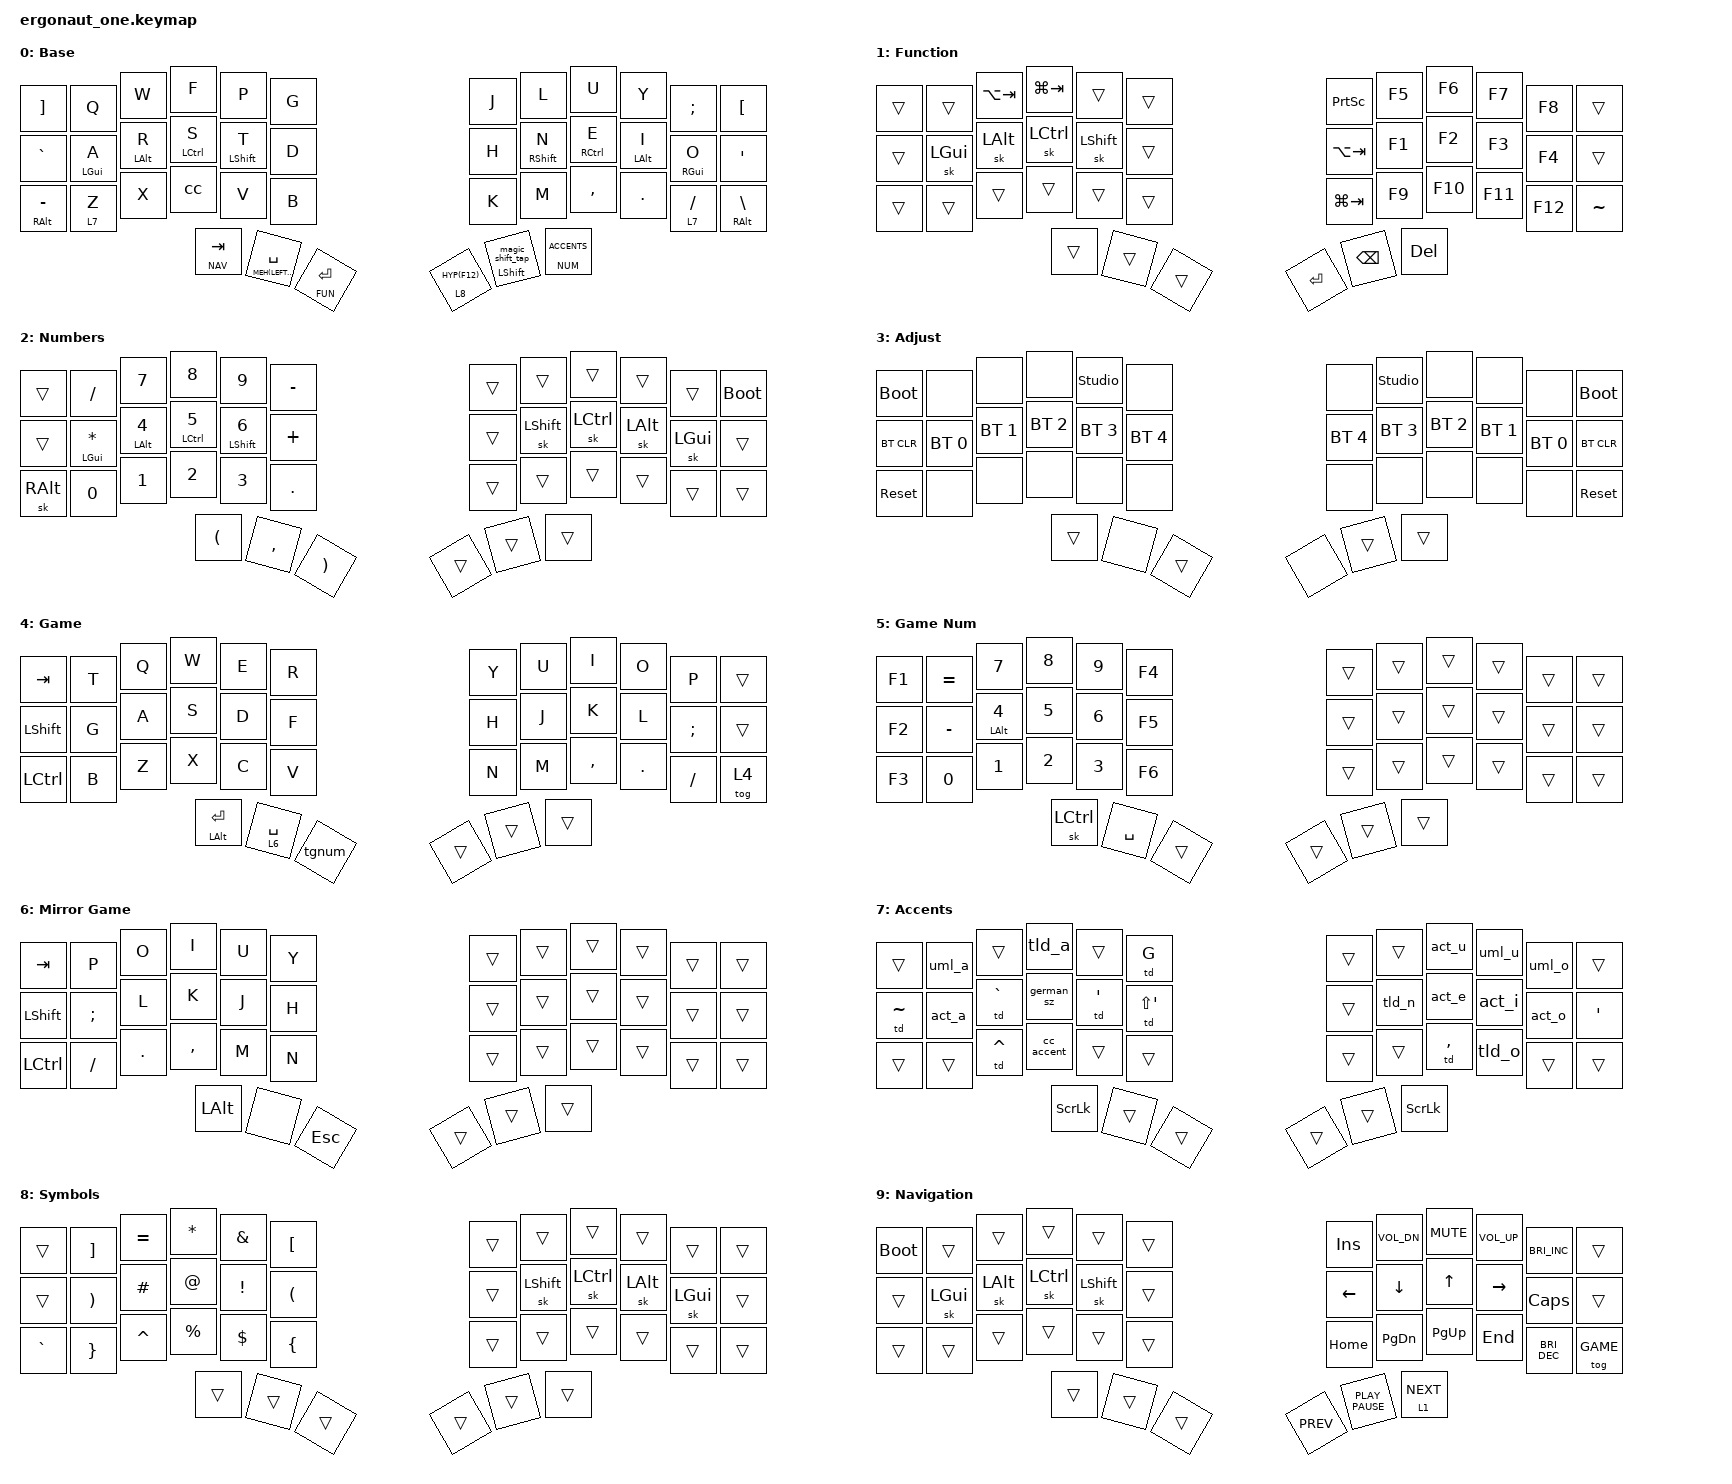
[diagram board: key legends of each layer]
#include <behaviors.dtsi>
#include <dt-bindings/zmk/bt.h>
#include <dt-bindings/zmk/keys.h>
#include <dt-bindings/zmk/pointing.h>
#include <zmk-helpers/helper.h>

#define DEF 0
#define FUN 1
#define NUM 2
#define ADJ 3
#define GAME 4
#define GAME_NUM 5
#define MIRROR_GAME 6
#define ACCENTS 7
#define SYM 8
#define NAV 9

#define QUICK_TAP_MS 175

// Macro timing (ZMK defaults: wait 15, tap 30). Lower is faster, but too low
// can make the OS drop the compose sequence.
#define MACRO_WAIT_MS 5
#define MACRO_TAP_MS 5

// Ergonaut One key positions, used by the timeless homerow mods
#define KEYS_L 0 1 2 3 4 5 12 13 14 15 16 17 24 25 26 27 28 29  // left hand
#define KEYS_R 6 7 8 9 10 11 18 19 20 21 22 23 30 31 32 33 34 35  // right hand
#define THUMBS 36 37 38 39 40 41                                  // thumb keys

#define MAGIC_SHIFT &magic_shift LSHFT 0
#define MEH(keycode) LC(LS(LA(keycode)))
#define HYP(keycode) LC(LS(LA(LG(keycode))))


&lt {
    tapping-term-ms = <200>;
    quick-tap-ms = <130>;
    require-prior-idle-ms = <150>;
    flavor = "balanced";
    retro-tap;
};

&mt {
    tapping-term-ms = <180>;
    quick-tap-ms = <130>;
    require-prior-idle-ms = <120>;
    flavor = "balanced";
};

&sk { quick-release; };

/ {
    conditional_layers {
        compatible = "zmk,conditional-layers";

        tri-layer {
            if-layers = <1 2>;
            then-layer = <3>;
        };
    };

    combos {
      compatible = "zmk,combos";

      bksp {
	timeout-ms = <30>;
	require-prior-idle-ms = <80>;
	bindings = <&kp2 LC(BSPC) BSPC>;
	key-positions = <7 8>;
      };

      del {
	timeout-ms = <30>;
	require-prior-idle-ms = <80>;
	bindings = <&kp2 LC(DELETE) DELETE>;
	key-positions = <8 9>;
      };

      escape {
	timeout-ms = <18>;
	require-prior-idle-ms = <80>;
	bindings = <&kp ESC>;
	key-positions = <19 20>;
      };

      leader {
	timeout-ms = <18>;
	require-prior-idle-ms = <80>;
	bindings = <&kp HYP(F12)>;
	key-positions = <20 21>;
      };

      cut {
	bindings = <&kp LC(X)>;
	key-positions = <25 26>;
      };

      copy {
	bindings = <&kp LC(C)>;
	key-positions = <26 27>;
      };

      paste {
	bindings = <&kp LC(V)>;
	key-positions = <27 28>;
      };

      ctrl_shift_t {
	bindings = <&kp LC(LS(T))>;
	key-positions = <3 4>;
      };

      plus_minus_combo {
	timeout-ms = <30>;
	key-positions = <12 24>;
	bindings = <&plus_minus>;
      };

      sqt_combo {
	timeout-ms = <30>;
	key-positions = <7 19>;
	bindings = <&kp SQT>;
      };

      dqt_combo {
	timeout-ms = <30>;
	key-positions = <8 20>;
	bindings = <&kp DQT>;
      };

    };

    macros {

    	plus_minus: plus_minus {
            compatible = "zmk,behavior-macro";
            wait-ms = <MACRO_WAIT_MS>;
            tap-ms = <MACRO_TAP_MS>;
            #binding-cells = <0>;
            bindings = <&kp SCROLLLOCK &kp PLUS &kp MINUS>;
            label = "PLUS_MINUS";
	};

        act: act {
            compatible = "zmk,behavior-macro-one-param";
            wait-ms = <MACRO_WAIT_MS>;
            tap-ms = <MACRO_TAP_MS>;
            #binding-cells = <1>;
            bindings = <&ans &macro_param_1to1 &kp MACRO_PLACEHOLDER>;
            label = "act";
        };

        grv: grv {
            compatible = "zmk,behavior-macro-one-param";
            wait-ms = <MACRO_WAIT_MS>;
            tap-ms = <MACRO_TAP_MS>;
            #binding-cells = <1>;
            bindings = <&gns &macro_param_1to1 &kp MACRO_PLACEHOLDER>;
            label = "grv";
        };

        tld: tld {
            compatible = "zmk,behavior-macro-one-param";
            wait-ms = <MACRO_WAIT_MS>;
            tap-ms = <MACRO_TAP_MS>;
            #binding-cells = <1>;
            bindings = <&kp TILDE &macro_param_1to1 &kp MACRO_PLACEHOLDER>;
            label = "tld";
        };

        umt: umt {
            compatible = "zmk,behavior-macro-one-param";
            wait-ms = <MACRO_WAIT_MS>;
            tap-ms = <MACRO_TAP_MS>;
            #binding-cells = <1>;
            bindings = <&kp DQT &macro_param_1to1 &kp MACRO_PLACEHOLDER>;
            label = "umt";
        };

        german_sz: german_sz {
            compatible = "zmk,behavior-macro";
            wait-ms = <MACRO_WAIT_MS>;
            tap-ms = <MACRO_TAP_MS>;
            #binding-cells = <0>;
            bindings = <&kp SCROLLLOCK &kp S &kp S>;
            label = "GERMAN_SZ";
        };

	td: turn_dead {
	    compatible = "zmk,behavior-macro-one-param";
	    wait-ms = <MACRO_WAIT_MS>;
	    tap-ms = <MACRO_TAP_MS>;
	    #binding-cells = <1>;
	    bindings = <&kp SCROLLLOCK &macro_param_1to1 &kp MACRO_PLACEHOLDER>;
	    };

	td2: turn_dead_two {
	    compatible = "zmk,behavior-macro-two-param";
	    wait-ms = <MACRO_WAIT_MS>;
	    tap-ms = <MACRO_TAP_MS>;
	    #binding-cells = <2>;
	    bindings = <&kp SCROLLLOCK>,
		<&macro_param_1to1>, <&kp MACRO_PLACEHOLDER>,
		<&macro_param_2to1>, <&kp MACRO_PLACEHOLDER>;
	    };

	cedilla_lower: cedilla_lower {
	    compatible = "zmk,behavior-macro-one-param";
	    wait-ms = <MACRO_WAIT_MS>;
	    tap-ms = <MACRO_TAP_MS>;
	    #binding-cells = <1>;
	    bindings = <&kp SCROLLLOCK &kp COMMA &kp C>;
	    };


	cedilla_upper: cedilla_upper {
	    compatible = "zmk,behavior-macro-one-param";
	    wait-ms = <MACRO_WAIT_MS>;
	    tap-ms = <MACRO_TAP_MS>;
	    #binding-cells = <1>;
	    bindings = <&kp SCROLLLOCK &kp COMMA &kp LS(C)>;
	    };


    };

    behaviors {
    // Timeless homerow mods (urob): the hold is decided by positional
    // "chordal" rules, not by a short timeout. Holds only trigger with the
    // opposite hand (or thumbs), and on release of the other key.
    hml: homerow_mods_left {
	compatible = "zmk,behavior-hold-tap";
	#binding-cells = <2>;
	flavor = "balanced";
	tapping-term-ms = <280>;
	quick-tap-ms = <QUICK_TAP_MS>;
	require-prior-idle-ms = <150>;
	bindings = <&kp>, <&kp>;
	hold-trigger-key-positions = <KEYS_R THUMBS>;
	hold-trigger-on-release;
    };

    hmr: homerow_mods_right {
	compatible = "zmk,behavior-hold-tap";
	#binding-cells = <2>;
	flavor = "balanced";
	tapping-term-ms = <280>;
	quick-tap-ms = <QUICK_TAP_MS>;
	require-prior-idle-ms = <150>;
	bindings = <&kp>, <&kp>;
	hold-trigger-key-positions = <KEYS_L THUMBS>;
	hold-trigger-on-release;
    };
      
    magic_shift: magic_shift {
	compatible = "zmk,behavior-hold-tap";
      #binding-cells = <2>;
	flavor = "balanced";
	tapping-term-ms = <200>;
	quick-tap-ms = <QUICK_TAP_MS>;
	bindings = <&kp>, <&magic_shift_tap>;
      };

    magic_shift_tap: magic_shift_tap {
	compatible = "zmk,behavior-mod-morph";
      #binding-cells = <0>;
	bindings = <&sk LSHFT>, <&capsword>;
	mods = <(MOD_LSFT)>;
      };

    capsword: capsword {
	compatible = "zmk,behavior-caps-word";
	label = "CAPSWORD";
      #binding-cells = <0>;
	continue-list = <SEMICOLON MINUS UNDERSCORE BACKSPACE A B C D E F G H I J K L M N O P Q R S T U V W X Y Z>;
      };

    altgr_accent: altgr_accent {
	compatible = "zmk,behavior-hold-tap";
	label = "ALTGR_ACCENT";
	bindings = <&mo>, <&kp>;

      #binding-cells = <2>;
	tapping-term-ms = <150>;
	quick-tap-ms = <200>;
      };

    ans: acute_noshift {
	compatible = "zmk,behavior-mod-morph";
	label = "ACUTE_NO_SHIFT";
      #binding-cells = <0>;
	bindings = <&kp SQT>, <&kp SQT>;

	mods = <(MOD_LSFT|MOD_RSFT)>;
      };

    gns: grave_noshift {
	compatible = "zmk,behavior-mod-morph";
	label = "GRAVE_NO_SHIFT";
      #binding-cells = <0>;
	bindings = <&kp GRAVE>, <&kp GRAVE>;

	mods = <(MOD_LSFT|MOD_RSFT)>;
      };

    tgnum: toggle_or_quit_game_num {
	compatible = "zmk,behavior-tap-dance";
	label = "TOGGLE_OR_QUIT_GAME_NUM";
      #binding-cells = <0>;
	bindings = <&sl 5>, <&tog 5>;
      };

    kp2: key_two_presses {
	compatible = "zmk,behavior-hold-tap";
      #binding-cells = <2>;
	flavor = "tap-preferred";
	tapping-term-ms = <200>;
	bindings = <&kp>, <&kp>;
      };


    act_a: acute_a {
	compatible = "zmk,behavior-mod-morph";
      #binding-cells = <0>;
	bindings = <&td2 SQT A>, <&td2 SQT LS(A)>;
	mods = <(MOD_LSFT|MOD_RSFT)>;
      };

    act_e: acute_e {
	compatible = "zmk,behavior-mod-morph";
      #binding-cells = <0>;
	bindings = <&td2 SQT E>, <&td2 SQT LS(E)>;
	mods = <(MOD_LSFT|MOD_RSFT)>;
      };

    act_i: acute_i {
	compatible = "zmk,behavior-mod-morph";
      #binding-cells = <0>;
	bindings = <&td2 SQT I>, <&td2 SQT LS(I)>;
	mods = <(MOD_LSFT|MOD_RSFT)>;
      };

    act_o: acute_o {
	compatible = "zmk,behavior-mod-morph";
      #binding-cells = <0>;
	bindings = <&td2 SQT O>, <&td2 SQT LS(O)>;
	mods = <(MOD_LSFT|MOD_RSFT)>;
      };

    act_u: acute_u {
	compatible = "zmk,behavior-mod-morph";
      #binding-cells = <0>;
	bindings = <&td2 SQT U>, <&td2 SQT LS(U)>;
	mods = <(MOD_LSFT|MOD_RSFT)>;
      };

    grv_a: grave_a {
	compatible = "zmk,behavior-mod-morph";
      #binding-cells = <0>;
	bindings = <&td2 GRAVE A>, <&td2 GRAVE LS(A)>;
	mods = <(MOD_LSFT|MOD_RSFT)>;
      };

    grv_e: grave_e {
	compatible = "zmk,behavior-mod-morph";
      #binding-cells = <0>;
	bindings = <&td2 GRAVE E>, <&td2 GRAVE LS(E)>;
	mods = <(MOD_LSFT|MOD_RSFT)>;
      };

    grv_i: grave_i {
	compatible = "zmk,behavior-mod-morph";
      #binding-cells = <0>;
	bindings = <&td2 GRAVE I>, <&td2 GRAVE LS(I)>;
	mods = <(MOD_LSFT|MOD_RSFT)>;
      };

    grv_o: grave_o {
	compatible = "zmk,behavior-mod-morph";
      #binding-cells = <0>;
	bindings = <&td2 GRAVE O>, <&td2 GRAVE LS(O)>;
	mods = <(MOD_LSFT|MOD_RSFT)>;
      };

    grv_u: grave_u {
	compatible = "zmk,behavior-mod-morph";
      #binding-cells = <0>;
	bindings = <&td2 GRAVE U>, <&td2 GRAVE LS(U)>;
	mods = <(MOD_LSFT|MOD_RSFT)>;
      };


    tld_a: tilde_a {
	compatible = "zmk,behavior-mod-morph";
      #binding-cells = <0>;
	bindings = <&td2 TILDE A>, <&td2 TILDE LS(A)>;
	mods = <(MOD_LSFT|MOD_RSFT)>;
      };


    tld_e: tilde_e {
	compatible = "zmk,behavior-mod-morph";
      #binding-cells = <0>;
	bindings = <&td2 TILDE E>, <&td2 TILDE LS(E)>;
	mods = <(MOD_LSFT|MOD_RSFT)>;
      };


    tld_i: tilde_i {
	compatible = "zmk,behavior-mod-morph";
      #binding-cells = <0>;
	bindings = <&td2 TILDE I>, <&td2 TILDE LS(I)>;
	mods = <(MOD_LSFT|MOD_RSFT)>;
      };


    tld_o: tilde_o {
	compatible = "zmk,behavior-mod-morph";
      #binding-cells = <0>;
	bindings = <&td2 TILDE O>, <&td2 TILDE LS(O)>;
	mods = <(MOD_LSFT|MOD_RSFT)>;
      };


    tld_u: tilde_u {
	compatible = "zmk,behavior-mod-morph";
      #binding-cells = <0>;
	bindings = <&td2 TILDE U>, <&td2 TILDE LS(U)>;
	mods = <(MOD_LSFT|MOD_RSFT)>;
      };

    tld_n: tilde_n {
	compatible = "zmk,behavior-mod-morph";
      #binding-cells = <0>;
	bindings = <&td2 TILDE N>, <&td2 TILDE LS(N)>;
	mods = <(MOD_LSFT|MOD_RSFT)>;
      };



    uml_a: umlaut_a {
	compatible = "zmk,behavior-mod-morph";
      #binding-cells = <0>;
	bindings = <&td2 DQT A>, <&td2 DQT LS(A)>;
	mods = <(MOD_LSFT|MOD_RSFT)>;
      };


    uml_e: umlaut_e {
	compatible = "zmk,behavior-mod-morph";
      #binding-cells = <0>;
	bindings = <&td2 DQT E>, <&td2 DQT LS(E)>;
	mods = <(MOD_LSFT|MOD_RSFT)>;
      };


    uml_i: umlaut_i {
	compatible = "zmk,behavior-mod-morph";
      #binding-cells = <0>;
	bindings = <&td2 DQT I>, <&td2 DQT LS(I)>;
	mods = <(MOD_LSFT|MOD_RSFT)>;
      };


    uml_o: umlaut_o {
	compatible = "zmk,behavior-mod-morph";
      #binding-cells = <0>;
	bindings = <&td2 DQT O>, <&td2 DQT LS(O)>;
	mods = <(MOD_LSFT|MOD_RSFT)>;
      };


    uml_u: umlaut_u {
	compatible = "zmk,behavior-mod-morph";
      #binding-cells = <0>;
	bindings = <&td2 DQT U>, <&td2 DQT LS(U)>;
	mods = <(MOD_LSFT|MOD_RSFT)>;
      };


    ht_lower: hold_tap_lower {
	compatible = "zmk,behavior-hold-tap";
      #binding-cells = <2>;
	flavor = "tap-preferred";
	tapping-term-ms = <160>;
	quick-tap-ms = <150>;
	bindings = <&cedilla_lower>, <&kp>;
      };

    ht_upper: hold_tap_upper {
	compatible = "zmk,behavior-hold-tap";
      #binding-cells = <2>;
	flavor = "tap-preferred";
	tapping-term-ms = <160>;
	quick-tap-ms = <150>;
	bindings = <&cedilla_upper>, <&kp>;
      };

    cc: c_cedilla_morph {
	compatible = "zmk,behavior-mod-morph";
      #binding-cells = <0>;
	bindings = <&ht_lower 0 C>, <&ht_upper 0 LS(C)>;
	mods = <(MOD_LSFT|MOD_RSFT)>;
      };

    cc_accent: c_cedilla_accent {
	compatible = "zmk,behavior-mod-morph";
      #binding-cells = <0>;
	bindings = <&cedilla_lower 0>, <&cedilla_upper 0>;
	mods = <(MOD_LSFT|MOD_RSFT)>;
      };

    mosl: sticky_and_momentary {
	compatible = "zmk,behavior-hold-tap";
#binding-cells = <2>;
	flavor = "tap-preferred";
	tapping-term-ms = <200>;
	quick-tap-ms = <100>;
	bindings = <&mo>, <&sl>;
      };

    hy_sym: hyper_and_symbols {
	compatible = "zmk,behavior-hold-tap";
#binding-cells = <2>;
	flavor = "tap-preferred";
	tapping-term-ms = <200>;
	quick-tap-ms = <100>;
	bindings = <&mo>, <&kp>;
      };
      
    };

    keymap {
        compatible = "zmk,keymap";

        default_layer {
            display-name = "Base";
            bindings = <
&kp RBKT		&kp Q			&kp W           &kp F				&kp P                   &kp G	&kp J   &kp L			&kp U           &kp Y           &kp SEMICOLON		&kp LBKT
&kp GRAVE		&hml LEFT_GUI A		&hml LEFT_ALT R  &hml LCTRL S			&hml LEFT_SHIFT T        &kp D   &kp H   &hmr RIGHT_SHIFT N	&hmr RCTRL E     &hmr LEFT_ALT I  &hmr RIGHT_GUI O		&kp SQT
&mt RIGHT_ALT MINUS	&lt 7 Z			&kp X           &cc				&kp V                   &kp B   &kp K   &kp M			&kp COMMA       &kp DOT         &altgr_accent 7 FSLH	&mt RIGHT_ALT BSLH
&lt NAV TAB		&mt MEH(LEFT_GUI) SPACE &lt FUN ENTER   &lt 8 HYP(F12)            MAGIC_SHIFT             &mosl NUM ACCENTS
            >;
        };

        fun_layer {
            display-name = "Function";
            bindings = <
&trans  &trans       &kp LA(TAB)    &kp LG(TAB)      &trans	     &trans	 &kp PRINTSCREEN &kp F5 	&kp F6  	&kp F7   &kp F8   &trans
&trans	&sk LEFT_GUI &sk LEFT_ALT   &sk LEFT_CONTROL &sk LEFT_SHIFT  &trans 	 &kp LA(TAB)	 &kp F1		&kp F2		&kp F3   &kp F4   &trans
&trans	&trans       &trans  	    &trans     	     &trans  	     &trans 	 &kp LG(TAB)	 &kp F9 	&kp F10 	&kp F11  &kp F12  &kp TILDE
				    &trans  	     &trans  	     &trans 	 &kp ENTER	 &kp BACKSPACE  &kp DELETE    	
            >;
        };

        num_layer {
            display-name = "Numbers";
            bindings = <
&trans	  &kp FSLH           &kp N7           &kp N8        &kp N9             &kp MINUS     &trans	       &trans         &trans		&trans         &trans	     &bootloader     
&trans	  &mt LEFT_GUI STAR  &mt LEFT_ALT N4  &mt LCTRL N5  &mt LEFT_SHIFT N6  &kp PLUS      &trans 	       &sk LEFT_SHIFT &sk LEFT_CONTROL  &sk LEFT_ALT   &sk LEFT_GUI  &trans
&sk RALT  &kp N0             &kp N1           &kp N2        &kp N3             &kp DOT       &trans 	       &trans         &trans            &trans         &trans        &trans
				              &kp LPAR      &kp COMMA          &kp RPAR	     &trans	       &trans         &trans
            >;
        };

        adjust_layer {
            display-name = "Adjust";
            bindings = <
&bootloader  &none         &none         &none         &studio_unlock  &none         &none         &studio_unlock  &none         &none         &none         &bootloader
&bt BT_CLR   &bt BT_SEL 0  &bt BT_SEL 1  &bt BT_SEL 2  &bt BT_SEL 3    &bt BT_SEL 4  &bt BT_SEL 4  &bt BT_SEL 3    &bt BT_SEL 2  &bt BT_SEL 1  &bt BT_SEL 0  &bt BT_CLR
&sys_reset   &none         &none         &none         &none           &none         &none         &none           &none         &none         &none         &sys_reset
                                         &trans        &none           &trans        &none         &trans          &trans
            >;
        };

        game_mode {
            display-name = "Game";
            bindings = <
	&kp TAB    &kp T  &kp Q  &kp W    &kp E           &kp R        &kp Y   &kp U   &kp I      &kp O    &kp P     &trans
	&kp LSHFT  &kp G  &kp A  &kp S    &kp D           &kp F        &kp H   &kp J   &kp K      &kp L    &kp SEMI  &trans
	&kp LCTRL  &kp B  &kp Z  &kp X    &kp C           &kp V        &kp N   &kp M   &kp COMMA  &kp DOT  &kp FSLH  &tog 4
	                                  &mt LALT ENTER  &lt 6 SPACE  &tgnum  &trans  &trans     &trans
            >;
        };

        game_num {
            display-name = "Game Num";
            bindings = <
&kp F1  &kp EQUAL     &kp N7                 &kp N8     &kp N9     &kp F4  &trans  &trans  &trans  &trans  &trans  &trans
&kp F2  &kp MINUS     &mt LEFT_ALT NUMBER_4  &kp N5     &kp N6     &kp F5  &trans  &trans  &trans  &trans  &trans  &trans
&kp F3  &kp NUMBER_0  &kp N1                 &kp N2     &kp N3     &kp F6  &trans  &trans  &trans  &trans  &trans  &trans
                                             &sk LCTRL  &kp SPACE  &trans  &trans  &trans  &trans
            >;
        };

        mirror-game {
            display-name = "Mirror Game";
            bindings = <
&kp TAB           &kp P     &kp O    &kp I      &kp U  &kp Y    &trans  &trans  &trans  &trans  &trans  &trans
&kp LEFT_SHIFT    &kp SEMI  &kp L    &kp K      &kp J  &kp H    &trans  &trans  &trans  &trans  &trans  &trans
&kp LEFT_CONTROL  &kp FSLH  &kp DOT  &kp COMMA  &kp M  &kp N    &trans  &trans  &trans  &trans  &trans  &trans
                                     &kp LALT   &none  &kp ESC  &trans  &trans  &trans
            >;
        };

        accents {
            display-name = "Accents";
            bindings = <
&trans		&uml_a		&trans		&tld_a		&trans    &td G		&trans         &trans   &act_u          &uml_u  &uml_o	&trans
&td TILDE	&act_a  	&td GRAVE	&german_sz	&td SQT   &td LS(SQT)	&trans         &tld_n   &act_e          &act_i  &act_o	&kp SQT
&trans		&trans  	&td CARET	&cc_accent	&trans    &trans	&trans         &trans	&td COMMA       &tld_o  &trans	&trans 
						&kp SCROLLLOCK	&trans    &trans       	&trans         &trans   &kp SCROLLLOCK
>;
};

	symbols_layer {
	     display-name = "Symbols";
	     bindings = <
	&trans		&kp RBKT	&kp EQUAL	&kp STAR	&kp AMPS	&kp LBKT	&trans		&trans		&trans			&trans		&trans		&trans
	&trans		&kp RPAR	&kp HASH        &kp AT		&kp EXCL	&kp LPAR	&trans		&sk LEFT_SHIFT	&sk LEFT_CONTROL	&sk LEFT_ALT	&sk LEFT_GUI	&trans
	&kp GRAVE	&kp RBRC	&kp CARET     	&kp PRCNT	&kp DLLR 	&kp LBRC	&trans		&trans		&trans			&trans		&trans		&trans
    	&trans		&trans		&trans		&trans		&trans		&trans
	    >;
	};

nav_layer {
display-name = "Navigation";
bindings = <
&bootloader  &trans		&trans		&trans			&trans			&trans  &kp INSERT      &kp C_VOL_DN		&kp K_MUTE	&kp C_VOLUME_UP &kp C_BRIGHTNESS_INC	&trans     
&trans       &sk LEFT_GUI	&sk LEFT_ALT    &sk LEFT_CONTROL	&sk LEFT_SHIFT		&trans  &kp LEFT        &kp DOWN        	&kp UP		&kp RIGHT       &kp CAPSLOCK		&trans     
&trans       &trans		&trans          &trans			&trans			&trans  &kp HOME        &kp PAGE_DOWN   	&kp PAGE_UP	&kp END         &kp C_BRIGHTNESS_DEC    &tog GAME 
					    &trans  		&trans			&trans	&kp K_PREV	&kp K_PLAY_PAUSE	&lt 1 K_NEXT     
>;
};
};
};
